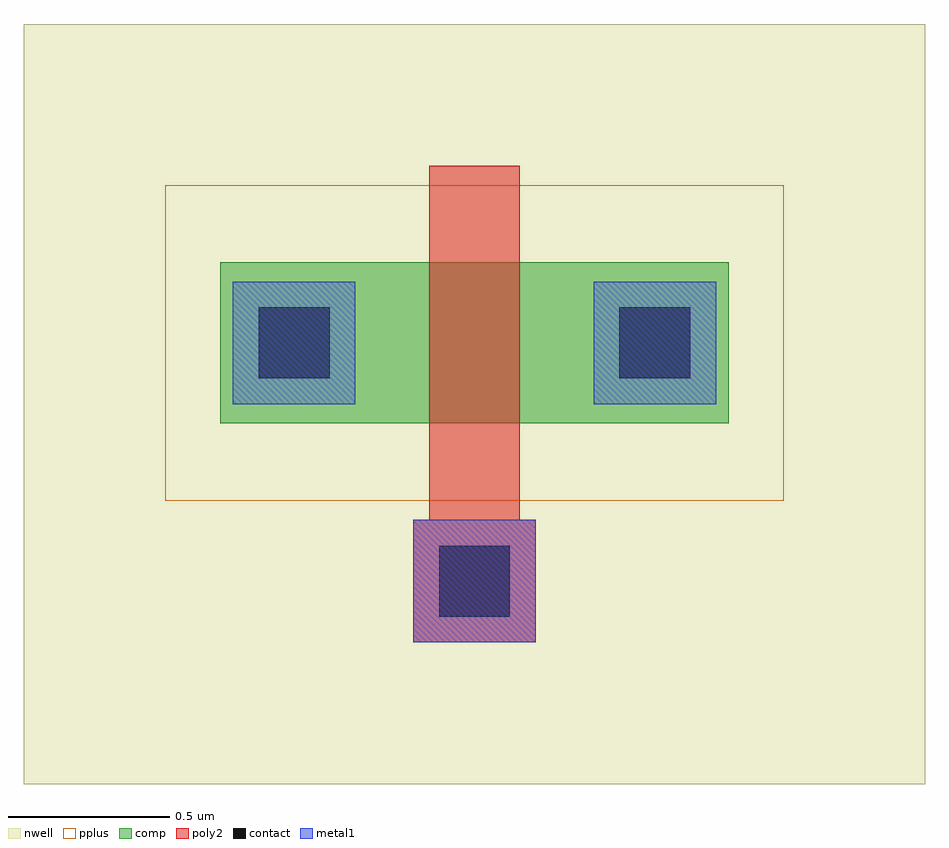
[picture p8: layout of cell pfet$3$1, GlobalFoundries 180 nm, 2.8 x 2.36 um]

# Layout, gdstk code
import gdstk
lib = gdstk.Library(unit=1e-6, precision=5e-09)
def R(c, l, rs):  # rectangles x0, y0, x1, y1
    for r in rs: c.add(gdstk.rectangle(r[:2], r[2:], *l))
def P(c, l, *ps):  # polygons
    for p in ps: c.add(gdstk.Polygon(p, *l))
nwell = (21, 0)
comp = (22, 0)
poly2 = (30, 0)
pplus = (31, 0)
contact = (33, 0)
metal1 = (34, 0)

pfet_3_1 = lib.new_cell('pfet$3$1')
R(pfet_3_1, nwell, [(-1.07,-1.12,1.73,1.24)])
R(pfet_3_1, comp, [(-0.46,0,1.12,0.5)])
P(pfet_3_1, poly2, [(0.14,-0.68),(0.14,-0.3),(0.19,-0.3),(0.19,0.8),(0.47,0.8),(0.47,-0.3),(0.52,-0.3),(0.52,-0.68)])
R(pfet_3_1, pplus, [(-0.63,-0.24,1.29,0.74)])
R(pfet_3_1, contact, [(0.22,-0.6,0.44,-0.38), (-0.34,0.14,-0.12,0.36), (0.78,0.14,1,0.36)])
R(pfet_3_1, metal1, [(0.14,-0.68,0.52,-0.3), (-0.42,0.06,-0.04,0.44), (0.7,0.06,1.08,0.44)])

lib.write_gds('pfet_3_1.gds')
